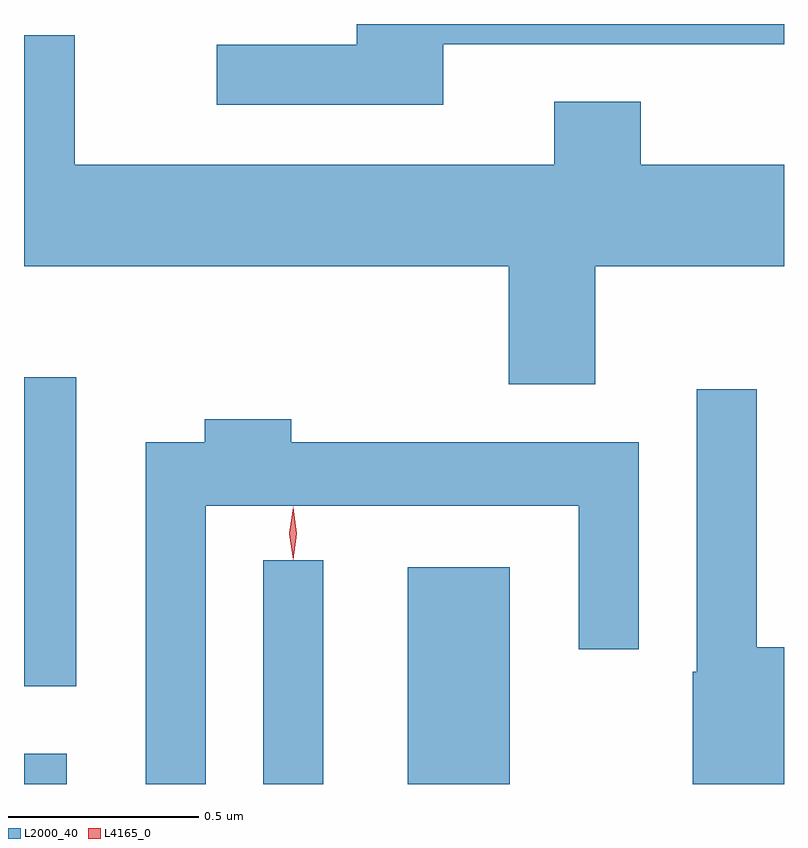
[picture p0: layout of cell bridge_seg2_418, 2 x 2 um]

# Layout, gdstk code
import gdstk
lib = gdstk.Library(unit=1e-6, precision=1e-09)
def R(c, l, rs):  # rectangles x0, y0, x1, y1
    for r in rs: c.add(gdstk.rectangle(r[:2], r[2:], *l))
def P(c, l, *ps):  # polygons
    for p in ps: c.add(gdstk.Polygon(p, *l))
L2000_40 = (2000, 40)
L4165_0 = (4165, 0)

bridge_seg2_418 = lib.new_cell('bridge_seg2_418')
R(bridge_seg2_418, L2000_40, [(628.646,1022.534,628.759,1022.614), (629.276,1022.534,629.434,1023.123), (629.656,1022.534,629.924,1023.104), (628.646,1022.791,628.784,1023.604)])
P(bridge_seg2_418, L2000_40, [(629.749,1024.481),(630.646,1024.481),(630.646,1024.534),(629.521,1024.534),(629.521,1024.479),(629.153,1024.479),(629.153,1024.321),(629.749,1024.321)],
  [(630.149,1023.896),(630.646,1023.896),(630.646,1024.164),(630.269,1024.164),(630.269,1024.329),(630.041,1024.329),(630.041,1024.164),(628.779,1024.164),(628.779,1024.504),(628.646,1024.504),(628.646,1023.896),(629.921,1023.896),(629.921,1023.586),(630.149,1023.586)],
  [(630.646,1022.894),(630.574,1022.894),(630.574,1023.573),(630.416,1023.573),(630.416,1022.83),(630.406,1022.83),(630.406,1022.534),(630.646,1022.534)],
  [(629.124,1023.266),(630.106,1023.266),(630.106,1022.888),(630.264,1022.888),(630.264,1023.434),(629.349,1023.434),(629.349,1023.494),(629.121,1023.494),(629.121,1023.434),(628.966,1023.434),(628.966,1022.534),(629.124,1022.534)])
P(bridge_seg2_418, L4165_0, [(629.354,1023.127),(629.354,1023.127),(629.344,1023.194),(629.354,1023.26),(629.354,1023.261),(629.355,1023.26),(629.364,1023.194),(629.355,1023.127)],
  [(629.354,1023.124),(629.354,1023.124),(629.344,1023.193),(629.354,1023.262),(629.354,1023.263),(629.355,1023.262),(629.364,1023.193),(629.355,1023.124)])

lib.write_gds('bridge_seg2_418.gds')
